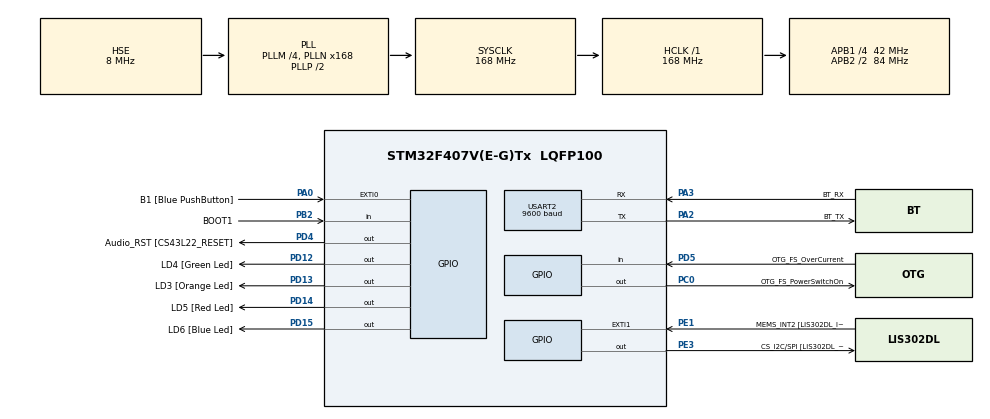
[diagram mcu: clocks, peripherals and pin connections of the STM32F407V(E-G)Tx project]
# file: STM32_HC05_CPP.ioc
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FREERTOS.CountingSemaphores01=txSem,15,Dynamic,NULL;rxSem,15,Dynamic,NULL
FREERTOS.INCLUDE_vTaskDelayUntil=1
FREERTOS.Tasks01=defaultTask,0,128,StartDefaultTask,Default,NULL,Dynamic,NULL,NULL;rxTask,3,128,StartRxTask,Default,NULL,Dynamic,NULL,NULL;txTask,3,128,StartTxTask,Default,NULL,Dynamic,NULL,NULL;ledTask,0,128,StartLedTask,Default,NULL,Dynamic,NULL,NULL
FREERTOS.configUSE_COUNTING_SEMAPHORES=1
FREERTOS.configUSE_IDLE_HOOK=0
FREERTOS.configUSE_TICK_HOOK=0
Mcu.Family=STM32F4
Mcu.Name=STM32F407V(E-G)Tx
Mcu.Package=LQFP100
NVIC.PriorityGroup=NVIC_PRIORITYGROUP_4
NVIC.TIM7_IRQn=true\:0\:0\:false\:false\:true\:false
NVIC.TimeBase=TIM7_IRQn
NVIC.TimeBaseIP=TIM7
NVIC.USART2_IRQn=true\:5\:0\:false\:false\:true\:true
PA0-WKUP.GPIO_Label=B1 [Blue PushButton]
PA0-WKUP.GPIO_ModeDefaultEXTI=GPIO_MODE_EVT_RISING
PA0-WKUP.GPIO_PuPd=GPIO_NOPULL
PA0-WKUP.Signal=GPXTI0
PA10.GPIO_Label=OTG_FS_ID
PA10.GPIO_Mode=GPIO_MODE_AF_PP
PA10.GPIO_PuPd=GPIO_NOPULL
PA10.GPIO_Speed=GPIO_SPEED_FREQ_LOW
PA10.Signal=USB_OTG_FS_ID
PA11.GPIO_Label=OTG_FS_DM
PA11.GPIO_Mode=GPIO_MODE_AF_PP
PA11.GPIO_PuPd=GPIO_NOPULL
PA11.GPIO_Speed=GPIO_SPEED_FREQ_LOW
PA11.Signal=USB_OTG_FS_DM
PA12.GPIO_Label=OTG_FS_DP
PA12.GPIO_Mode=GPIO_MODE_AF_PP
PA12.GPIO_PuPd=GPIO_NOPULL
PA12.GPIO_Speed=GPIO_SPEED_FREQ_LOW
PA12.Signal=USB_OTG_FS_DP
PA13.GPIO_Label=SWDIO
PA13.Signal=SYS_JTMS-SWDIO
PA14.GPIO_Label=SWCLK
PA14.Signal=SYS_JTCK-SWCLK
PA2.GPIO_Label=BT_TX
PA2.Mode=Asynchronous
PA2.Signal=USART2_TX
PA3.GPIO_Label=BT_RX
PA3.Mode=Asynchronous
PA3.Signal=USART2_RX
PA4.GPIO_Label=I2S3_WS [CS43L22_LRCK]
PA4.GPIO_Mode=GPIO_MODE_AF_PP
PA4.GPIO_PuPd=GPIO_NOPULL
PA4.GPIO_Speed=GPIO_SPEED_FREQ_LOW
PA4.Signal=I2S3_WS
PA5.GPIO_Label=SPI1_SCK [LIS302DL_SCL/SPC]
PA5.GPIO_Mode=GPIO_MODE_AF_PP
PA5.GPIO_PuPd=GPIO_NOPULL
PA5.GPIO_Speed=GPIO_SPEED_FREQ_LOW
PA5.Signal=SPI1_SCK
PA6.GPIO_Label=SPI1_MISO [LIS302DL_SDO]
PA6.GPIO_Mode=GPIO_MODE_AF_PP
PA6.GPIO_PuPd=GPIO_NOPULL
PA6.GPIO_Speed=GPIO_SPEED_FREQ_LOW
PA6.Signal=SPI1_MISO
PA7.GPIO_Label=SPI1_MOSI [LIS302DL_SDA/SDI/SDO]
PA7.GPIO_Mode=GPIO_MODE_AF_PP
PA7.GPIO_PuPd=GPIO_NOPULL
PA7.GPIO_Speed=GPIO_SPEED_FREQ_LOW
PA7.Signal=SPI1_MOSI
PA9.GPIO_Label=VBUS_FS
PA9.GPIO_Mode=GPIO_MODE_INPUT
PA9.GPIO_PuPd=GPIO_NOPULL
PA9.Signal=USB_OTG_FS_VBUS
PB10.GPIO_Label=CLK_IN [MP45DT02_CLK]
PB10.GPIO_Mode=GPIO_MODE_AF_PP
PB10.GPIO_PuPd=GPIO_NOPULL
PB10.GPIO_Speed=GPIO_SPEED_FREQ_LOW
PB10.Signal=I2S2_CK
PB2.GPIO_Label=BOOT1
PB2.GPIO_Mode=GPIO_MODE_INPUT
PB2.GPIO_PuPd=GPIO_NOPULL
PB2.Signal=GPIO_Input
PB3.GPIO_Label=SWO
PB3.Signal=SYS_JTDO-SWO
PB6.GPIO_Label=Audio_SCL [CS43L22_SCL]
PB6.GPIO_Mode=GPIO_MODE_AF_OD
PB6.GPIO_PuPd=GPIO_NOPULL
PB6.GPIO_Speed=GPIO_SPEED_FREQ_LOW
PB6.Signal=I2C1_SCL
PB9.GPIO_Label=Audio_SDA [CS43L22_SDA]
PB9.GPIO_Mode=GPIO_MODE_AF_OD
PB9.GPIO_PuPd=GPIO_NOPULL
PB9.GPIO_Speed=GPIO_SPEED_FREQ_LOW
PB9.Signal=I2C1_SDA
PC0.GPIO_Label=OTG_FS_PowerSwitchOn
PC0.GPIO_PuPd=GPIO_NOPULL
PC0.GPIO_Speed=GPIO_SPEED_FREQ_LOW
PC0.PinState=GPIO_PIN_SET
PC0.Signal=GPIO_Output
PC10.GPIO_Label=I2S3_SCK [CS43L22_SCLK]
PC10.GPIO_Mode=GPIO_MODE_AF_PP
PC10.GPIO_PuPd=GPIO_NOPULL
PC10.GPIO_Speed=GPIO_SPEED_FREQ_LOW
PC10.Signal=I2S3_CK
PC12.GPIO_Label=I2S3_SD [CS43L22_SDIN]
PC12.GPIO_Mode=GPIO_MODE_AF_PP
PC12.GPIO_PuPd=GPIO_NOPULL
PC12.GPIO_Speed=GPIO_SPEED_FREQ_LOW
PC12.Signal=I2S3_SD
PC14-OSC32_IN.GPIO_Label=PC14-OSC32_IN
PC14-OSC32_IN.Signal=RCC_OSC32_IN
PC15-OSC32_OUT.GPIO_Label=PC15-OSC32_OUT
PC15-OSC32_OUT.Signal=RCC_OSC32_OUT
PC3.GPIO_Label=PDM_OUT [MP45DT02_DOUT]
PC3.GPIO_Mode=GPIO_MODE_AF_PP
PC3.GPIO_PuPd=GPIO_NOPULL
PC3.GPIO_Speed=GPIO_SPEED_FREQ_LOW
PC3.Signal=I2S2_SD
PC7.GPIO_Label=I2S3_MCK [CS43L22_MCLK]
PC7.GPIO_Mode=GPIO_MODE_AF_PP
PC7.GPIO_PuPd=GPIO_NOPULL
PC7.GPIO_Speed=GPIO_SPEED_FREQ_LOW
PC7.Signal=I2S3_MCK
PD12.GPIO_Label=LD4 [Green Led]
PD12.GPIO_PuPd=GPIO_NOPULL
PD12.GPIO_Speed=GPIO_SPEED_FREQ_LOW
PD12.Signal=GPIO_Output
PD13.GPIO_Label=LD3 [Orange Led]
PD13.GPIO_PuPd=GPIO_NOPULL
PD13.GPIO_Speed=GPIO_SPEED_FREQ_LOW
PD13.Signal=GPIO_Output
PD14.GPIO_Label=LD5 [Red Led]
PD14.GPIO_PuPd=GPIO_NOPULL
PD14.GPIO_Speed=GPIO_SPEED_FREQ_LOW
PD14.Signal=GPIO_Output
PD15.GPIO_Label=LD6 [Blue Led]
PD15.GPIO_PuPd=GPIO_NOPULL
PD15.GPIO_Speed=GPIO_SPEED_FREQ_LOW
PD15.Signal=GPIO_Output
PD4.GPIO_Label=Audio_RST [CS43L22_RESET]
PD4.GPIO_PuPd=GPIO_NOPULL
PD4.GPIO_Speed=GPIO_SPEED_FREQ_LOW
PD4.Signal=GPIO_Output
PD5.GPIO_Label=OTG_FS_OverCurrent
PD5.GPIO_Mode=GPIO_MODE_INPUT
PD5.GPIO_PuPd=GPIO_NOPULL
PD5.Signal=GPIO_Input
PE1.GPIO_Label=MEMS_INT2 [LIS302DL_INT2]
PE1.GPIO_ModeDefaultEXTI=GPIO_MODE_EVT_RISING
PE1.GPIO_PuPd=GPIO_NOPULL
PE1.Signal=GPXTI1
PE3.GPIO_Label=CS_I2C/SPI [LIS302DL_CS_I2C/SPI]
PE3.GPIO_PuPd=GPIO_NOPULL
PE3.GPIO_Speed=GPIO_SPEED_FREQ_LOW
PE3.Signal=GPIO_Output
PH0-OSC_IN.GPIO_Label=PH0-OSC_IN
PH0-OSC_IN.Mode=HSE-External-Oscillator
PH0-OSC_IN.Signal=RCC_OSC_IN
PH1-OSC_OUT.GPIO_Label=PH1-OSC_OUT
PH1-OSC_OUT.Mode=HSE-External-Oscillator
PH1-OSC_OUT.Signal=RCC_OSC_OUT
ProjectManager.HeapSize=0x200
ProjectManager.StackSize=0x400
ProjectManager.TargetToolchain=SW4STM32
RCC.48MHZClocksFreq_Value=48000000
RCC.AHBFreq_Value=168000000
RCC.APB1CLKDivider=RCC_HCLK_DIV4
RCC.APB1Freq_Value=42000000
RCC.APB1TimFreq_Value=84000000
RCC.APB2CLKDivider=RCC_HCLK_DIV2
RCC.APB2Freq_Value=84000000
RCC.APB2TimFreq_Value=168000000
RCC.CortexFreq_Value=168000000
RCC.HCLKFreq_Value=168000000
RCC.HSE_VALUE=8000000
RCC.HSI_VALUE=16000000
RCC.LSE_VALUE=32768
RCC.PLLM=4
RCC.PLLN=168
RCC.PLLQ=7
RCC.PLLSourceVirtual=RCC_PLLSOURCE_HSE
RCC.SYSCLKFreq_VALUE=168000000
RCC.SYSCLKSource=RCC_SYSCLKSOURCE_PLLCLK
RCC.VCOOutputFreq_Value=336000000
USART2.BaudRate=9600
USART2.VirtualMode=VM_ASYNC
VP_FREERTOS_VS_ENABLE.Mode=Enabled
VP_SYS_VS_tim7.Mode=TIM7
board=STM32F4DISCOVERY

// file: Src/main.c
/**
  ******************************************************************************
  * File Name          : main.c
  * Description        : Main program body
  ******************************************************************************
  * This notice applies to any and all portions of this file
  * that are not between comment pairs USER CODE BEGIN and
  * USER CODE END. Other portions of this file, whether
  * inserted by the user or by software development tools
  * are owned by their respective copyright owners.
  *
  * Copyright (c) 2017 STMicroelectronics International N.V.
  * All rights reserved.
  *
  * Redistribution and use in source and binary forms, with or without
  * modification, are permitted, provided that the following conditions are met:
  *
  * 1. Redistribution of source code must retain the above copyright notice,
  *    this list of conditions and the following disclaimer.
  * 2. Redistributions in binary form must reproduce the above copyright notice,
  *    this list of conditions and the following disclaimer in the documentation
  *    and/or other materials provided with the distribution.
  * 3. Neither the name of STMicroelectronics nor the names of other
  *    contributors to this software may be used to endorse or promote products
  *    derived from this software without specific written permission.
  * 4. This software, including modifications and/or derivative works of this
  *    software, must execute solely and exclusively on microcontroller or
  *    microprocessor devices manufactured by or for STMicroelectronics.
  * 5. Redistribution and use of this software other than as permitted under
  *    this license is void and will automatically terminate your rights under
  *    this license.
  *
  * THIS SOFTWARE IS PROVIDED BY STMICROELECTRONICS AND CONTRIBUTORS "AS IS"
  * AND ANY EXPRESS, IMPLIED OR STATUTORY WARRANTIES, INCLUDING, BUT NOT
  * LIMITED TO, THE IMPLIED WARRANTIES OF MERCHANTABILITY, FITNESS FOR A
  * PARTICULAR PURPOSE AND NON-INFRINGEMENT OF THIRD PARTY INTELLECTUAL PROPERTY
  * RIGHTS ARE DISCLAIMED TO THE FULLEST EXTENT PERMITTED BY LAW. IN NO EVENT
  * SHALL STMICROELECTRONICS OR CONTRIBUTORS BE LIABLE FOR ANY DIRECT, INDIRECT,
  * INCIDENTAL, SPECIAL, EXEMPLARY, OR CONSEQUENTIAL DAMAGES (INCLUDING, BUT NOT
  * LIMITED TO, PROCUREMENT OF SUBSTITUTE GOODS OR SERVICES; LOSS OF USE, DATA,
  * OR PROFITS; OR BUSINESS INTERRUPTION) HOWEVER CAUSED AND ON ANY THEORY OF
  * LIABILITY, WHETHER IN CONTRACT, STRICT LIABILITY, OR TORT (INCLUDING
  * NEGLIGENCE OR OTHERWISE) ARISING IN ANY WAY OUT OF THE USE OF THIS SOFTWARE,
  * EVEN IF ADVISED OF THE POSSIBILITY OF SUCH DAMAGE.
  *
  ******************************************************************************
  */
#include "main.h"
#include "stm32f4xx_hal.h"
#include "cmsis_os.h"
#include "usart.h"
#include "gpio.h"

/* USER CODE BEGIN PV */
/* Private variables ---------------------------------------------------------*/

/* USER CODE END PV */

void SystemClock_Config(void);
void MX_FREERTOS_Init(void);

/* USER CODE BEGIN PFP */
/* Private function prototypes -----------------------------------------------*/

/* USER CODE END PFP */

int main(void)
{

  /* MCU Configuration----------------------------------------------------------*/

  /* Reset of all peripherals, Initializes the Flash interface and the Systick. */
  HAL_Init();

  /* Configure the system clock */
  SystemClock_Config();

  /* Initialize all configured peripherals */
  MX_GPIO_Init();
  MX_USART2_UART_Init();

  /* Call init function for freertos objects (in freertos.c) */
  MX_FREERTOS_Init();

  /* Start scheduler */
  osKernelStart();

  /* We should never get here as control is now taken by the scheduler */

  /* Infinite loop */
  while (1)
  {

  }

}

/** System Clock Configuration
*/
void SystemClock_Config(void)
{

  RCC_OscInitTypeDef RCC_OscInitStruct;
  RCC_ClkInitTypeDef RCC_ClkInitStruct;

    /**Configure the main internal regulator output voltage
    */
  __HAL_RCC_PWR_CLK_ENABLE();

  __HAL_PWR_VOLTAGESCALING_CONFIG(PWR_REGULATOR_VOLTAGE_SCALE1);

    /**Initializes the CPU, AHB and APB busses clocks
    */
  RCC_OscInitStruct.OscillatorType = RCC_OSCILLATORTYPE_HSE;
  RCC_OscInitStruct.HSEState = RCC_HSE_ON;
  RCC_OscInitStruct.PLL.PLLState = RCC_PLL_ON;
  RCC_OscInitStruct.PLL.PLLSource = RCC_PLLSOURCE_HSE;
  RCC_OscInitStruct.PLL.PLLM = 4;
  RCC_OscInitStruct.PLL.PLLN = 168;
  RCC_OscInitStruct.PLL.PLLP = RCC_PLLP_DIV2;
  RCC_OscInitStruct.PLL.PLLQ = 7;
  if (HAL_RCC_OscConfig(&RCC_OscInitStruct) != HAL_OK)
  {
    _Error_Handler(__FILE__, __LINE__);
  }

    /**Initializes the CPU, AHB and APB busses clocks
    */
  RCC_ClkInitStruct.ClockType = RCC_CLOCKTYPE_HCLK|RCC_CLOCKTYPE_SYSCLK
                              |RCC_CLOCKTYPE_PCLK1|RCC_CLOCKTYPE_PCLK2;
  RCC_ClkInitStruct.SYSCLKSource = RCC_SYSCLKSOURCE_PLLCLK;
  RCC_ClkInitStruct.AHBCLKDivider = RCC_SYSCLK_DIV1;
  RCC_ClkInitStruct.APB1CLKDivider = RCC_HCLK_DIV4;
  RCC_ClkInitStruct.APB2CLKDivider = RCC_HCLK_DIV2;

  if (HAL_RCC_ClockConfig(&RCC_ClkInitStruct, FLASH_LATENCY_5) != HAL_OK)
  {
    _Error_Handler(__FILE__, __LINE__);
  }

    /**Configure the Systick interrupt time
    */
  HAL_SYSTICK_Config(HAL_RCC_GetHCLKFreq()/1000);

    /**Configure the Systick
    */
  HAL_SYSTICK_CLKSourceConfig(SYSTICK_CLKSOURCE_HCLK);

  /* SysTick_IRQn interrupt configuration */
  HAL_NVIC_SetPriority(SysTick_IRQn, 15, 0);
}

void HAL_TIM_PeriodElapsedCallback(TIM_HandleTypeDef *htim)
{
  if (htim->Instance == TIM7) {
    HAL_IncTick();
  }
}

void _Error_Handler(char * file, int line)
{
  while(1)
  {
  }
}

/************************ (C) COPYRIGHT STMicroelectronics *****END OF FILE****/

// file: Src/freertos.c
/**
  ******************************************************************************
  * File Name          : freertos.c
  * Description        : Code for freertos applications
  ******************************************************************************
  * This notice applies to any and all portions of this file
  * that are not between comment pairs USER CODE BEGIN and
  * USER CODE END. Other portions of this file, whether
  * inserted by the user or by software development tools
  * are owned by their respective copyright owners.
  *
  * Copyright (c) 2017 STMicroelectronics International N.V.
  * All rights reserved.
  *
  * Redistribution and use in source and binary forms, with or without
  * modification, are permitted, provided that the following conditions are met:
  *
  * 1. Redistribution of source code must retain the above copyright notice,
  *    this list of conditions and the following disclaimer.
  * 2. Redistributions in binary form must reproduce the above copyright notice,
  *    this list of conditions and the following disclaimer in the documentation
  *    and/or other materials provided with the distribution.
  * 3. Neither the name of STMicroelectronics nor the names of other
  *    contributors to this software may be used to endorse or promote products
  *    derived from this software without specific written permission.
  * 4. This software, including modifications and/or derivative works of this
  *    software, must execute solely and exclusively on microcontroller or
  *    microprocessor devices manufactured by or for STMicroelectronics.
  * 5. Redistribution and use of this software other than as permitted under
  *    this license is void and will automatically terminate your rights under
  *    this license.
  *
  * THIS SOFTWARE IS PROVIDED BY STMICROELECTRONICS AND CONTRIBUTORS "AS IS"
  * AND ANY EXPRESS, IMPLIED OR STATUTORY WARRANTIES, INCLUDING, BUT NOT
  * LIMITED TO, THE IMPLIED WARRANTIES OF MERCHANTABILITY, FITNESS FOR A
  * PARTICULAR PURPOSE AND NON-INFRINGEMENT OF THIRD PARTY INTELLECTUAL PROPERTY
  * RIGHTS ARE DISCLAIMED TO THE FULLEST EXTENT PERMITTED BY LAW. IN NO EVENT
  * SHALL STMICROELECTRONICS OR CONTRIBUTORS BE LIABLE FOR ANY DIRECT, INDIRECT,
  * INCIDENTAL, SPECIAL, EXEMPLARY, OR CONSEQUENTIAL DAMAGES (INCLUDING, BUT NOT
  * LIMITED TO, PROCUREMENT OF SUBSTITUTE GOODS OR SERVICES; LOSS OF USE, DATA,
  * OR PROFITS; OR BUSINESS INTERRUPTION) HOWEVER CAUSED AND ON ANY THEORY OF
  * LIABILITY, WHETHER IN CONTRACT, STRICT LIABILITY, OR TORT (INCLUDING
  * NEGLIGENCE OR OTHERWISE) ARISING IN ANY WAY OUT OF THE USE OF THIS SOFTWARE,
  * EVEN IF ADVISED OF THE POSSIBILITY OF SUCH DAMAGE.
  *
  ******************************************************************************
  */

#include "FreeRTOS.h"
#include "task.h"
#include "cmsis_os.h"

/* USER CODE BEGIN Includes */

#include "gpio.h"
#include "usart.h"

#include <Communicator/Serial/HC05/HC05.hpp>

/* USER CODE END Includes */

osThreadId defaultTaskHandle;
osThreadId rxTaskHandle;
osThreadId txTaskHandle;
osThreadId ledTaskHandle;
osSemaphoreId txSemHandle;
osSemaphoreId rxSemHandle;

/* USER CODE BEGIN Variables */

HC05			Bluetooth(&huart2);

/* USER CODE END Variables */

void StartDefaultTask(void const * argument);
void StartRxTask(void const * argument);
void StartTxTask(void const * argument);
void StartLedTask(void const * argument);

void MX_FREERTOS_Init(void); /* (MISRA C 2004 rule 8.1) */

/* Hook prototypes */

/* Init FreeRTOS */

void MX_FREERTOS_Init(void) {

  /* Create the semaphores(s) */
  /* definition and creation of txSem */
  osSemaphoreDef(txSem);
  txSemHandle = osSemaphoreCreate(osSemaphore(txSem), 15);

  /* definition and creation of rxSem */
  osSemaphoreDef(rxSem);
  rxSemHandle = osSemaphoreCreate(osSemaphore(rxSem), 15);

  /* Create the thread(s) */
  /* definition and creation of defaultTask */
  osThreadDef(defaultTask, StartDefaultTask, osPriorityNormal, 0, 128);
  defaultTaskHandle = osThreadCreate(osThread(defaultTask), NULL);

  /* definition and creation of rxTask */
  osThreadDef(rxTask, StartRxTask, osPriorityRealtime, 0, 128);
  rxTaskHandle = osThreadCreate(osThread(rxTask), NULL);

  /* definition and creation of txTask */
  osThreadDef(txTask, StartTxTask, osPriorityRealtime, 0, 128);
  txTaskHandle = osThreadCreate(osThread(txTask), NULL);

  /* definition and creation of ledTask */
  osThreadDef(ledTask, StartLedTask, osPriorityNormal, 0, 128);
  ledTaskHandle = osThreadCreate(osThread(ledTask), NULL);

}

/* StartDefaultTask function */
void StartDefaultTask(void const * argument)
{

  /* USER CODE BEGIN StartDefaultTask */

	Bluetooth.begin();

  /* Infinite loop */
  for(;;)
  {

	  if(Bluetooth.isAvailable() == true){
		  char c = Bluetooth.readChar();
		  Bluetooth.writeChar(c);
	  }

  }
  /* USER CODE END StartDefaultTask */
}

/* StartRxTask function */
void StartRxTask(void const * argument)
{
  /* USER CODE BEGIN StartRxTask */
	osSemaphoreWait(rxSemHandle,osWaitForever);
	/* Infinite loop */
	for(;;)
	{
		osSemaphoreWait(rxSemHandle,osWaitForever);
		Bluetooth.processRxISR();
	}
  /* USER CODE END StartRxTask */
}

/* StartTxTask function */
void StartTxTask(void const * argument)
{
  /* USER CODE BEGIN StartTxTask */
	osSemaphoreWait(txSemHandle,osWaitForever);
	/* Infinite loop */
	for(;;)
	{
		osSemaphoreWait(txSemHandle,osWaitForever);
		Bluetooth.processTxISR();
	}
  /* USER CODE END StartTxTask */
}

/* StartLedTask function */
void StartLedTask(void const * argument)
{
  for(;;)
  {
    osDelay(1);
  }
}

/* USER CODE BEGIN Application */

/**
 *
 * @param huart
 */
void HAL_UART_TxCpltCallback(UART_HandleTypeDef *huart){

	if(huart->Instance == Bluetooth.getUARTInstance())
		osSemaphoreRelease(txSemHandle);

}
/********************************************************/

/*
 *
 */
void HAL_UART_RxCpltCallback(UART_HandleTypeDef *huart){

	if(huart->Instance == Bluetooth.getUARTInstance())
		osSemaphoreRelease(rxSemHandle);

}
/********************************************************/

/* USER CODE END Application */

/************************ (C) COPYRIGHT STMicroelectronics *****END OF FILE****/
